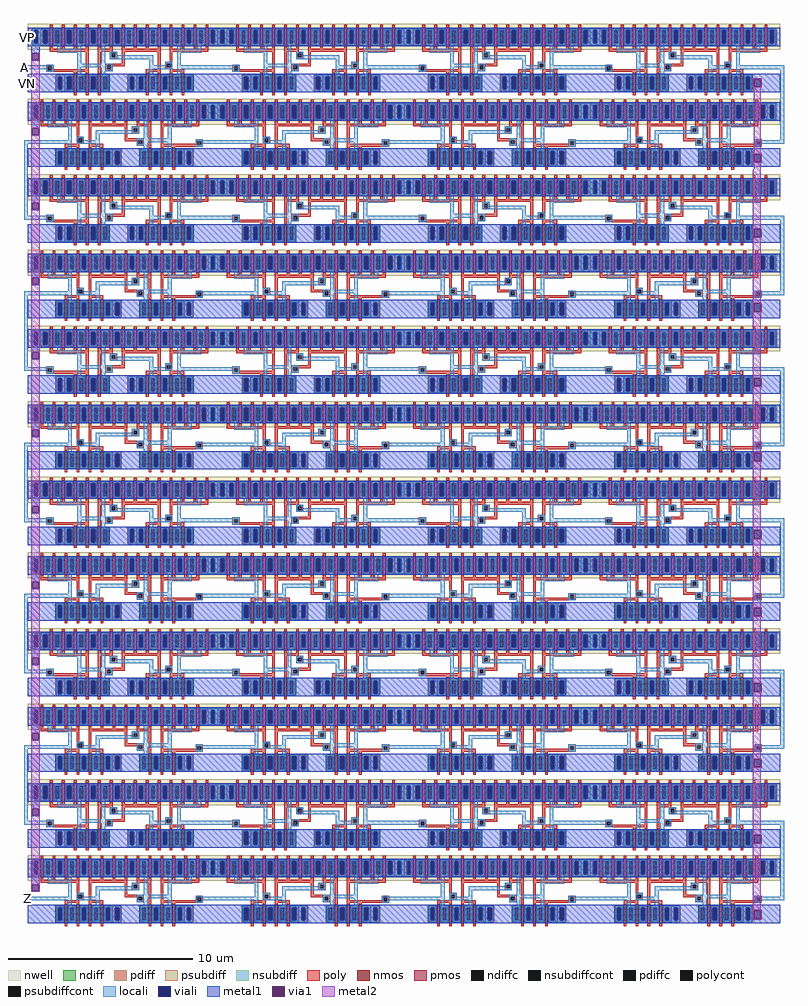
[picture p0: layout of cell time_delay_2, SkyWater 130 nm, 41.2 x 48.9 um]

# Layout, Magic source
magic
tech sky130A
<< nwell >>
rect 1015 115 1025 205
rect 2020 115 2040 205
rect 10 -315 55 -295
rect 10 -720 55 -700
rect 10 -1125 55 -1105
rect 10 -1530 55 -1510
rect 10 -1950 55 -1930
rect 10 -2365 55 -2345
rect 10 -2775 55 -2755
rect 10 -3185 55 -3165
rect 10 -3595 55 -3575
rect 10 -4005 55 -3985
rect 10 -4415 55 -4395
<< pdiff >>
rect 1015 115 1020 205
rect 2020 115 2030 205
<< nsubdiff >>
rect 1020 115 1025 205
rect 2030 115 2040 205
<< locali >>
rect 1015 115 1025 205
rect 2020 115 2040 205
rect 3035 115 3045 205
rect -30 -15 -5 5
rect 1015 -290 1025 -200
rect 2025 -290 2035 -200
rect 3035 -290 3045 -200
rect -30 -830 -10 -400
rect 4070 -420 4090 5
rect 1005 -700 1035 -610
rect 2015 -700 2045 -610
rect 3030 -700 3060 -610
rect 1005 -1110 1035 -1020
rect 2015 -1110 2045 -1020
rect 3025 -1110 3055 -1020
rect -30 -1650 -10 -1220
rect 4070 -1240 4090 -810
rect 1010 -1520 1040 -1430
rect 2020 -1520 2050 -1430
rect 3025 -1520 3055 -1430
rect 1010 -1930 1040 -1840
rect 2015 -1930 2045 -1840
rect 3025 -1930 3055 -1840
rect -30 -2470 -10 -2040
rect 4070 -2060 4090 -1630
rect 1005 -2340 1035 -2250
rect 2020 -2340 2050 -2250
rect 3030 -2340 3060 -2250
rect 1010 -2750 1040 -2660
rect 2020 -2750 2050 -2660
rect 3030 -2750 3060 -2660
rect -30 -3290 -10 -2860
rect 4070 -2880 4090 -2450
rect 1010 -3160 1040 -3070
rect 2020 -3160 2050 -3070
rect 3030 -3160 3060 -3070
rect 1010 -3570 1040 -3480
rect 2020 -3570 2050 -3480
rect 3025 -3570 3055 -3480
rect -30 -4110 -10 -3680
rect 4070 -3700 4090 -3270
rect 1010 -3980 1040 -3890
rect 2020 -3980 2050 -3890
rect 3025 -3980 3055 -3890
rect 1010 -4390 1040 -4300
rect 2020 -4390 2050 -4300
rect 3030 -4390 3060 -4300
rect -10 -4520 0 -4500
rect 4070 -4520 4090 -4090
<< metal1 >>
rect -10 110 -5 210
rect 1015 115 1025 205
rect 2020 115 2040 205
rect 10 70 55 115
rect 10 35 15 70
rect 50 35 55 70
rect 10 30 55 35
rect -10 -140 0 -40
rect 10 -335 55 -295
rect 10 -370 15 -335
rect 50 -370 55 -335
rect 10 -375 55 -370
rect 3920 -475 3970 -470
rect 3920 -520 3925 -475
rect 3965 -520 3970 -475
rect 3920 -525 3970 -520
rect 10 -740 55 -700
rect 10 -775 15 -740
rect 50 -775 55 -740
rect 10 -780 55 -775
rect 3920 -925 3925 -880
rect 3965 -925 3970 -880
rect 3920 -930 3970 -925
rect 10 -1145 55 -1105
rect 10 -1180 15 -1145
rect 50 -1180 55 -1145
rect 10 -1185 55 -1180
rect 3920 -1330 3925 -1285
rect 3965 -1330 3970 -1285
rect 3920 -1335 3970 -1330
rect 10 -1550 55 -1510
rect 10 -1585 15 -1550
rect 50 -1585 55 -1550
rect 10 -1590 55 -1585
rect 3920 -1735 3925 -1690
rect 3965 -1735 3970 -1690
rect 3920 -1740 3970 -1735
rect 10 -1970 55 -1930
rect 10 -2005 15 -1970
rect 50 -2005 55 -1970
rect 10 -2010 55 -2005
rect 3920 -2140 3925 -2095
rect 3965 -2140 3970 -2095
rect 3920 -2145 3970 -2140
rect 10 -2385 55 -2345
rect 10 -2420 15 -2385
rect 50 -2420 55 -2385
rect 10 -2425 55 -2420
rect 3920 -2560 3925 -2515
rect 3965 -2560 3970 -2515
rect 3920 -2565 3970 -2560
rect 10 -2795 55 -2755
rect 10 -2830 15 -2795
rect 50 -2830 55 -2795
rect 10 -2835 55 -2830
rect 3920 -2980 3925 -2935
rect 3965 -2980 3970 -2935
rect 3920 -2985 3970 -2980
rect 10 -3205 55 -3165
rect 10 -3240 15 -3205
rect 50 -3240 55 -3205
rect 10 -3245 55 -3240
rect 3920 -3390 3925 -3345
rect 3965 -3390 3970 -3345
rect 3920 -3395 3970 -3390
rect 10 -3615 55 -3575
rect 10 -3650 15 -3615
rect 50 -3650 55 -3615
rect 10 -3655 55 -3650
rect 3920 -3800 3925 -3755
rect 3965 -3800 3970 -3755
rect 3920 -3805 3970 -3800
rect 10 -4025 55 -3985
rect 10 -4060 15 -4025
rect 50 -4060 55 -4025
rect 10 -4065 55 -4060
rect 3920 -4210 3925 -4165
rect 3965 -4210 3970 -4165
rect 3920 -4215 3970 -4210
rect 10 -4435 55 -4395
rect 10 -4470 15 -4435
rect 50 -4470 55 -4435
rect 10 -4475 55 -4470
rect 3920 -4620 3925 -4575
rect 3965 -4620 3970 -4575
rect 3920 -4625 3970 -4620
<< via1 >>
rect 15 35 50 70
rect 3925 -110 3965 -70
rect 15 -370 50 -335
rect 3925 -520 3965 -475
rect 15 -775 50 -740
rect 3925 -925 3965 -880
rect 15 -1180 50 -1145
rect 3925 -1330 3965 -1285
rect 15 -1585 50 -1550
rect 3925 -1735 3965 -1690
rect 15 -2005 50 -1970
rect 3925 -2140 3965 -2095
rect 15 -2420 50 -2385
rect 3925 -2560 3965 -2515
rect 15 -2830 50 -2795
rect 3925 -2980 3965 -2935
rect 15 -3240 50 -3205
rect 3925 -3390 3965 -3345
rect 15 -3650 50 -3615
rect 3925 -3800 3965 -3755
rect 15 -4060 50 -4025
rect 3925 -4210 3965 -4165
rect 15 -4470 50 -4435
rect 3925 -4620 3965 -4575
<< metal2 >>
rect 10 70 55 75
rect 10 35 15 70
rect 50 35 55 70
rect 10 -335 55 35
rect 3920 -70 3970 -65
rect 3920 -110 3925 -70
rect 3965 -110 3970 -70
rect 3920 -115 3970 -110
rect 10 -370 15 -335
rect 50 -370 55 -335
rect 10 -740 55 -370
rect 3925 -470 3965 -115
rect 3920 -475 3970 -470
rect 3920 -520 3925 -475
rect 3965 -520 3970 -475
rect 3920 -525 3970 -520
rect 3925 -560 3965 -525
rect 10 -775 15 -740
rect 50 -775 55 -740
rect 10 -1145 55 -775
rect 10 -1180 15 -1145
rect 50 -1180 55 -1145
rect 10 -1550 55 -1180
rect 10 -1585 15 -1550
rect 50 -1585 55 -1550
rect 10 -1970 55 -1585
rect 10 -2005 15 -1970
rect 50 -2005 55 -1970
rect 10 -2385 55 -2005
rect 10 -2420 15 -2385
rect 50 -2420 55 -2385
rect 10 -2795 55 -2420
rect 10 -2830 15 -2795
rect 50 -2830 55 -2795
rect 10 -3205 55 -2830
rect 10 -3240 15 -3205
rect 50 -3240 55 -3205
rect 10 -3615 55 -3240
rect 10 -3650 15 -3615
rect 50 -3650 55 -3615
rect 10 -4025 55 -3650
rect 10 -4060 15 -4025
rect 50 -4060 55 -4025
rect 10 -4435 55 -4060
rect 10 -4470 15 -4435
rect 50 -4470 55 -4435
rect 10 -4475 55 -4470
rect 3920 -880 3965 -560
rect 3920 -925 3925 -880
rect 3965 -925 3970 -880
rect 3920 -930 3970 -925
rect 3920 -1285 3965 -930
rect 3920 -1330 3925 -1285
rect 3965 -1330 3970 -1285
rect 3920 -1335 3970 -1330
rect 3920 -1690 3965 -1335
rect 3920 -1735 3925 -1690
rect 3965 -1735 3970 -1690
rect 3920 -1740 3970 -1735
rect 3920 -2095 3965 -1740
rect 3920 -2140 3925 -2095
rect 3965 -2140 3970 -2095
rect 3920 -2145 3970 -2140
rect 3920 -2515 3965 -2145
rect 3920 -2560 3925 -2515
rect 3965 -2560 3970 -2515
rect 3920 -2565 3970 -2560
rect 3920 -2935 3965 -2565
rect 3920 -2980 3925 -2935
rect 3965 -2980 3970 -2935
rect 3920 -2985 3970 -2980
rect 3920 -3345 3965 -2985
rect 3920 -3390 3925 -3345
rect 3965 -3390 3970 -3345
rect 3920 -3395 3970 -3390
rect 3920 -3755 3965 -3395
rect 3920 -3800 3925 -3755
rect 3965 -3800 3970 -3755
rect 3920 -3805 3970 -3800
rect 3920 -4165 3965 -3805
rect 3920 -4210 3925 -4165
rect 3965 -4210 3970 -4165
rect 3920 -4215 3970 -4210
rect 3920 -4575 3965 -4215
rect 3920 -4620 3925 -4575
rect 3965 -4620 3970 -4575
rect 3920 -4625 3970 -4620
use schmitt_inverter  schmitt_inverter_47
transform -1 0 920 0 1 -4645
box -120 -15 930 370
use schmitt_inverter  schmitt_inverter_46
transform -1 0 1930 0 1 -4645
box -120 -15 930 370
use schmitt_inverter  schmitt_inverter_45
transform -1 0 2940 0 1 -4645
box -120 -15 930 370
use schmitt_inverter  schmitt_inverter_44
transform -1 0 3950 0 1 -4645
box -120 -15 930 370
use schmitt_inverter  schmitt_inverter_40
transform 1 0 110 0 1 -4235
box -120 -15 930 370
use schmitt_inverter  schmitt_inverter_41
transform 1 0 1120 0 1 -4235
box -120 -15 930 370
use schmitt_inverter  schmitt_inverter_42
transform 1 0 2130 0 1 -4235
box -120 -15 930 370
use schmitt_inverter  schmitt_inverter_43
transform 1 0 3140 0 1 -4235
box -120 -15 930 370
use schmitt_inverter  schmitt_inverter_39
transform -1 0 920 0 1 -3825
box -120 -15 930 370
use schmitt_inverter  schmitt_inverter_38
transform -1 0 1930 0 1 -3825
box -120 -15 930 370
use schmitt_inverter  schmitt_inverter_37
transform -1 0 2940 0 1 -3825
box -120 -15 930 370
use schmitt_inverter  schmitt_inverter_36
transform -1 0 3950 0 1 -3825
box -120 -15 930 370
use schmitt_inverter  schmitt_inverter_32
transform 1 0 110 0 1 -3415
box -120 -15 930 370
use schmitt_inverter  schmitt_inverter_33
transform 1 0 1120 0 1 -3415
box -120 -15 930 370
use schmitt_inverter  schmitt_inverter_34
transform 1 0 2130 0 1 -3415
box -120 -15 930 370
use schmitt_inverter  schmitt_inverter_35
transform 1 0 3140 0 1 -3415
box -120 -15 930 370
use schmitt_inverter  schmitt_inverter_31
transform -1 0 920 0 1 -3005
box -120 -15 930 370
use schmitt_inverter  schmitt_inverter_30
transform -1 0 1930 0 1 -3005
box -120 -15 930 370
use schmitt_inverter  schmitt_inverter_29
transform -1 0 2940 0 1 -3005
box -120 -15 930 370
use schmitt_inverter  schmitt_inverter_28
transform -1 0 3950 0 1 -3005
box -120 -15 930 370
use schmitt_inverter  schmitt_inverter_24
transform 1 0 110 0 1 -2595
box -120 -15 930 370
use schmitt_inverter  schmitt_inverter_25
transform 1 0 1120 0 1 -2595
box -120 -15 930 370
use schmitt_inverter  schmitt_inverter_26
transform 1 0 2130 0 1 -2595
box -120 -15 930 370
use schmitt_inverter  schmitt_inverter_27
transform 1 0 3140 0 1 -2595
box -120 -15 930 370
use schmitt_inverter  schmitt_inverter_23
transform -1 0 920 0 1 -2185
box -120 -15 930 370
use schmitt_inverter  schmitt_inverter_22
transform -1 0 1930 0 1 -2185
box -120 -15 930 370
use schmitt_inverter  schmitt_inverter_21
transform -1 0 2940 0 1 -2185
box -120 -15 930 370
use schmitt_inverter  schmitt_inverter_20
transform -1 0 3950 0 1 -2185
box -120 -15 930 370
use schmitt_inverter  schmitt_inverter_16
transform 1 0 110 0 1 -1775
box -120 -15 930 370
use schmitt_inverter  schmitt_inverter_17
transform 1 0 1120 0 1 -1775
box -120 -15 930 370
use schmitt_inverter  schmitt_inverter_18
transform 1 0 2130 0 1 -1775
box -120 -15 930 370
use schmitt_inverter  schmitt_inverter_19
transform 1 0 3140 0 1 -1775
box -120 -15 930 370
use schmitt_inverter  schmitt_inverter_15
transform -1 0 920 0 1 -1365
box -120 -15 930 370
use schmitt_inverter  schmitt_inverter_14
transform -1 0 1930 0 1 -1365
box -120 -15 930 370
use schmitt_inverter  schmitt_inverter_13
transform -1 0 2940 0 1 -1365
box -120 -15 930 370
use schmitt_inverter  schmitt_inverter_12
transform -1 0 3950 0 1 -1365
box -120 -15 930 370
use schmitt_inverter  schmitt_inverter_8
transform 1 0 110 0 1 -955
box -120 -15 930 370
use schmitt_inverter  schmitt_inverter_9
transform 1 0 1120 0 1 -955
box -120 -15 930 370
use schmitt_inverter  schmitt_inverter_10
transform 1 0 2130 0 1 -955
box -120 -15 930 370
use schmitt_inverter  schmitt_inverter_11
transform 1 0 3140 0 1 -955
box -120 -15 930 370
use schmitt_inverter  schmitt_inverter_7
transform -1 0 920 0 1 -545
box -120 -15 930 370
use schmitt_inverter  schmitt_inverter_6
transform -1 0 1930 0 1 -545
box -120 -15 930 370
use schmitt_inverter  schmitt_inverter_5
transform -1 0 2940 0 1 -545
box -120 -15 930 370
use schmitt_inverter  schmitt_inverter_4
transform -1 0 3950 0 1 -545
box -120 -15 930 370
use schmitt_inverter  schmitt_inverter_0
transform 1 0 110 0 1 -140
box -120 -15 930 370
use schmitt_inverter  schmitt_inverter_1
transform 1 0 1120 0 1 -140
box -120 -15 930 370
use schmitt_inverter  schmitt_inverter_2
transform 1 0 2130 0 1 -140
box -120 -15 930 370
use schmitt_inverter  schmitt_inverter_3
transform 1 0 3140 0 1 -140
box -120 -15 930 370
<< labels >>
rlabel locali -30 -5 -30 -5 7 A
port 2 w
rlabel metal1 -10 155 -10 155 7 VP
rlabel metal1 -10 -95 -10 -95 7 VN
port 3 w
rlabel locali -10 -4510 -10 -4510 7 Z
port 4 w
<< end >>

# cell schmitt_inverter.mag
magic
tech sky130A
<< nwell >>
rect -120 230 930 370
<< nmos >>
rect 130 0 145 100
rect 195 0 210 100
rect 260 0 275 100
rect 520 0 535 100
rect 585 0 600 100
rect 650 0 665 100
rect 715 0 730 100
<< pmos >>
rect 0 250 15 350
rect 65 250 80 350
rect 130 250 145 350
rect 195 250 210 350
rect 260 250 275 350
rect 325 250 340 350
rect 390 250 405 350
rect 455 250 470 350
rect 520 250 535 350
rect 585 250 600 350
rect 650 250 665 350
rect 715 250 730 350
rect 780 250 795 350
rect 845 250 860 350
<< ndiff >>
rect 80 85 130 100
rect 80 15 95 85
rect 115 15 130 85
rect 80 0 130 15
rect 145 85 195 100
rect 145 15 160 85
rect 180 15 195 85
rect 145 0 195 15
rect 210 85 260 100
rect 210 15 225 85
rect 245 15 260 85
rect 210 0 260 15
rect 275 85 325 100
rect 275 15 290 85
rect 310 15 325 85
rect 275 0 325 15
rect 470 85 520 100
rect 470 15 485 85
rect 505 15 520 85
rect 470 0 520 15
rect 535 85 585 100
rect 535 15 550 85
rect 570 15 585 85
rect 535 0 585 15
rect 600 85 650 100
rect 600 15 615 85
rect 635 15 650 85
rect 600 0 650 15
rect 665 85 715 100
rect 665 15 680 85
rect 700 15 715 85
rect 665 0 715 15
rect 730 85 780 100
rect 730 15 745 85
rect 765 15 780 85
rect 730 0 780 15
<< pdiff >>
rect -50 335 0 350
rect -50 265 -35 335
rect -15 265 0 335
rect -50 250 0 265
rect 15 335 65 350
rect 15 265 30 335
rect 50 265 65 335
rect 15 250 65 265
rect 80 335 130 350
rect 80 265 95 335
rect 115 265 130 335
rect 80 250 130 265
rect 145 335 195 350
rect 145 265 160 335
rect 180 265 195 335
rect 145 250 195 265
rect 210 335 260 350
rect 210 265 225 335
rect 245 265 260 335
rect 210 250 260 265
rect 275 335 325 350
rect 275 265 290 335
rect 310 265 325 335
rect 275 250 325 265
rect 340 335 390 350
rect 340 265 355 335
rect 375 265 390 335
rect 340 250 390 265
rect 405 335 455 350
rect 405 265 420 335
rect 440 265 455 335
rect 405 250 455 265
rect 470 335 520 350
rect 470 265 485 335
rect 505 265 520 335
rect 470 250 520 265
rect 535 335 585 350
rect 535 265 550 335
rect 570 265 585 335
rect 535 250 585 265
rect 600 335 650 350
rect 600 265 615 335
rect 635 265 650 335
rect 600 250 650 265
rect 665 335 715 350
rect 665 265 680 335
rect 700 265 715 335
rect 665 250 715 265
rect 730 335 780 350
rect 730 265 745 335
rect 765 265 780 335
rect 730 250 780 265
rect 795 335 845 350
rect 795 265 810 335
rect 830 265 845 335
rect 795 250 845 265
rect 860 335 910 350
rect 860 265 875 335
rect 895 265 910 335
rect 860 250 910 265
<< ndiffc >>
rect 95 15 115 85
rect 160 15 180 85
rect 225 15 245 85
rect 290 15 310 85
rect 485 15 505 85
rect 550 15 570 85
rect 615 15 635 85
rect 680 15 700 85
rect 745 15 765 85
<< pdiffc >>
rect -35 265 -15 335
rect 30 265 50 335
rect 95 265 115 335
rect 160 265 180 335
rect 225 265 245 335
rect 290 265 310 335
rect 355 265 375 335
rect 420 265 440 335
rect 485 265 505 335
rect 550 265 570 335
rect 615 265 635 335
rect 680 265 700 335
rect 745 265 765 335
rect 810 265 830 335
rect 875 265 895 335
<< psubdiff >>
rect 30 85 80 100
rect 30 15 45 85
rect 65 15 80 85
rect 30 0 80 15
rect 420 85 470 100
rect 420 15 435 85
rect 455 15 470 85
rect 420 0 470 15
<< nsubdiff >>
rect -100 335 -50 350
rect -100 265 -85 335
rect -65 265 -50 335
rect -100 250 -50 265
<< psubdiffcont >>
rect 45 15 65 85
rect 435 15 455 85
<< nsubdiffcont >>
rect -85 265 -65 335
<< poly >>
rect 0 350 15 365
rect 65 350 80 365
rect 130 350 145 365
rect 195 350 210 365
rect 260 350 275 365
rect 325 350 340 365
rect 390 350 405 365
rect 455 350 470 365
rect 520 350 535 365
rect 585 350 600 365
rect 650 350 665 365
rect 715 350 730 365
rect 780 350 795 365
rect 845 350 860 365
rect 0 235 15 250
rect 65 235 80 250
rect 130 235 145 250
rect 195 235 210 250
rect 0 220 210 235
rect -20 140 20 150
rect -20 120 -10 140
rect 10 125 20 140
rect 195 125 210 220
rect 10 120 210 125
rect -20 110 210 120
rect 130 100 145 110
rect 195 100 210 110
rect 260 235 275 250
rect 325 235 340 250
rect 260 220 340 235
rect 390 235 405 250
rect 455 235 470 250
rect 520 235 535 250
rect 585 235 600 250
rect 390 220 600 235
rect 260 100 275 220
rect 325 210 365 220
rect 325 190 335 210
rect 355 190 365 210
rect 325 180 365 190
rect 390 155 405 220
rect 300 145 405 155
rect 300 125 310 145
rect 330 140 405 145
rect 330 125 340 140
rect 585 125 600 220
rect 650 235 665 250
rect 715 235 730 250
rect 780 235 795 250
rect 845 235 860 250
rect 650 220 860 235
rect 650 165 665 220
rect 625 155 665 165
rect 625 135 635 155
rect 655 135 665 155
rect 625 125 665 135
rect 300 115 340 125
rect 520 110 600 125
rect 520 100 535 110
rect 585 100 600 110
rect 650 110 730 125
rect 650 100 665 110
rect 715 100 730 110
rect 130 -15 145 0
rect 195 -15 210 0
rect 260 -15 275 0
rect 520 -15 535 0
rect 585 -15 600 0
rect 650 -15 665 0
rect 715 -15 730 0
<< polycont >>
rect -10 120 10 140
rect 335 190 355 210
rect 310 125 330 145
rect 635 135 655 155
<< locali >>
rect -95 335 -5 345
rect -95 265 -85 335
rect -65 265 -35 335
rect -15 265 -5 335
rect -95 255 -5 265
rect 20 335 60 345
rect 20 265 30 335
rect 50 265 60 335
rect 20 255 60 265
rect 85 335 125 345
rect 85 265 95 335
rect 115 265 125 335
rect 85 255 125 265
rect 150 335 190 345
rect 150 265 160 335
rect 180 265 190 335
rect 150 255 190 265
rect 215 335 255 345
rect 215 265 225 335
rect 245 265 255 335
rect 215 255 255 265
rect 280 335 320 345
rect 280 265 290 335
rect 310 265 320 335
rect 280 255 320 265
rect 345 335 385 345
rect 345 265 355 335
rect 375 265 385 335
rect 345 255 385 265
rect 410 335 450 345
rect 410 265 420 335
rect 440 265 450 335
rect 410 255 450 265
rect 475 335 515 345
rect 475 265 485 335
rect 505 265 515 335
rect 475 255 515 265
rect 540 335 580 345
rect 540 265 550 335
rect 570 265 580 335
rect 540 255 580 265
rect 605 335 645 345
rect 605 265 615 335
rect 635 265 645 335
rect 605 255 645 265
rect 670 335 710 345
rect 670 265 680 335
rect 700 265 710 335
rect 670 255 710 265
rect 735 335 775 345
rect 735 265 745 335
rect 765 265 775 335
rect 735 255 775 265
rect 800 335 840 345
rect 800 265 810 335
rect 830 265 840 335
rect 800 255 840 265
rect 865 335 905 345
rect 865 265 875 335
rect 895 265 905 335
rect 865 255 905 265
rect 40 235 60 255
rect 150 235 170 255
rect 40 215 170 235
rect 150 155 170 215
rect 280 155 300 255
rect 690 235 710 255
rect 800 235 820 255
rect 325 210 365 220
rect 325 190 335 210
rect 355 200 365 210
rect 690 215 820 235
rect 355 190 560 200
rect 325 180 560 190
rect -20 145 20 150
rect -120 140 20 145
rect -120 125 -10 140
rect -20 120 -10 125
rect 10 120 20 140
rect -20 110 20 120
rect 150 145 340 155
rect 150 135 310 145
rect 150 95 170 135
rect 280 125 310 135
rect 330 125 340 145
rect 280 115 340 125
rect 540 145 560 180
rect 625 155 665 165
rect 625 145 635 155
rect 540 135 635 145
rect 655 135 665 155
rect 540 125 665 135
rect 690 145 710 215
rect 690 125 930 145
rect 280 95 300 115
rect 540 95 560 125
rect 690 95 710 125
rect 35 85 125 95
rect 35 15 45 85
rect 65 15 95 85
rect 115 15 125 85
rect 35 5 125 15
rect 150 85 190 95
rect 150 15 160 85
rect 180 15 190 85
rect 150 5 190 15
rect 215 85 255 95
rect 215 15 225 85
rect 245 15 255 85
rect 215 5 255 15
rect 280 85 320 95
rect 280 15 290 85
rect 310 15 320 85
rect 280 5 320 15
rect 425 85 515 95
rect 425 15 435 85
rect 455 15 485 85
rect 505 15 515 85
rect 425 5 515 15
rect 540 85 580 95
rect 540 15 550 85
rect 570 15 580 85
rect 540 5 580 15
rect 605 85 645 95
rect 605 15 615 85
rect 635 15 645 85
rect 605 5 645 15
rect 670 85 710 95
rect 670 15 680 85
rect 700 15 710 85
rect 670 5 710 15
rect 735 85 775 95
rect 735 15 745 85
rect 765 15 775 85
rect 735 5 775 15
<< viali >>
rect -85 265 -65 335
rect -35 265 -15 335
rect 95 265 115 335
rect 225 265 245 335
rect 355 265 375 335
rect 485 265 505 335
rect 615 265 635 335
rect 745 265 765 335
rect 875 265 895 335
rect 45 15 65 85
rect 95 15 115 85
rect 225 15 245 85
rect 435 15 455 85
rect 485 15 505 85
rect 615 15 635 85
rect 745 15 765 85
<< metal1 >>
rect -120 335 930 350
rect -120 265 -85 335
rect -65 265 -35 335
rect -15 265 95 335
rect 115 265 225 335
rect 245 265 355 335
rect 375 265 485 335
rect 505 265 615 335
rect 635 265 745 335
rect 765 265 875 335
rect 895 265 930 335
rect -120 250 930 265
rect -120 85 930 100
rect -120 15 45 85
rect 65 15 95 85
rect 115 15 225 85
rect 245 15 435 85
rect 455 15 485 85
rect 505 15 615 85
rect 635 15 745 85
rect 765 15 930 85
rect -120 0 930 15
<< labels >>
rlabel locali -120 135 -120 135 7 A
port 1 w
rlabel locali 930 135 930 135 3 Z
port 2 e
rlabel metal1 -120 295 -120 295 7 VP
port 3 w
rlabel metal1 -120 50 -120 50 7 VN
port 4 w
<< end >>
